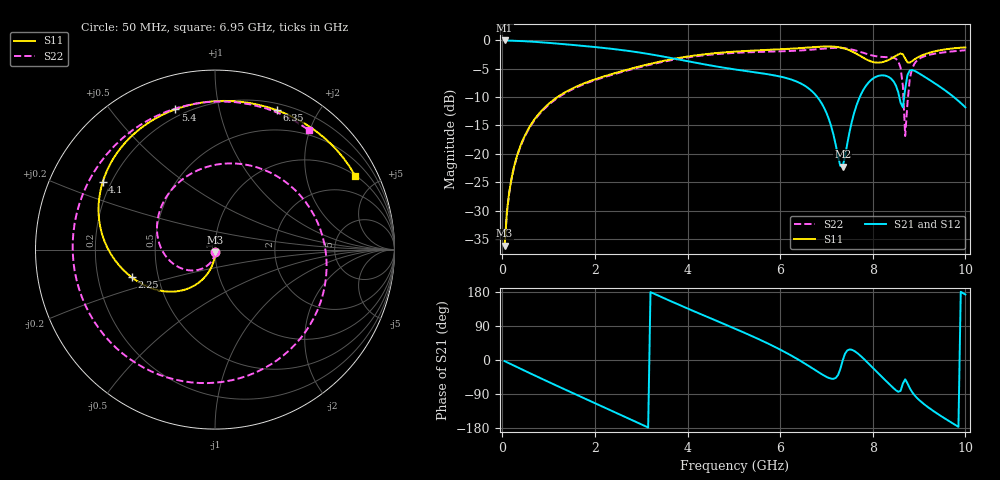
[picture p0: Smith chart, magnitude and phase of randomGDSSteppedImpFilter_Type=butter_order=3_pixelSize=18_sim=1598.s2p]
! freq	dB(S11)	phase(S11)	dB(S12)	phase(S12)
!  dB(S21)	phase(S21)	dB(S22)	phase(S22)
!S-par simulation data
#  GHz  S  DB  R 50
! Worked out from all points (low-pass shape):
!   200 points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, 50 MHz to 10 GHz, reference 50 ohm
!   highest |S21| = -0.02 dB at 50 MHz (marker M1); lowest = -22.2 dB at 7.35 GHz (marker M2)
!   |S21| within 3 dB of the highest: start of sweep to 3.582 GHz
!   lowest |S11| = -36.2 dB at 50 MHz (marker M3), VSWR 1.03, Z = 50.1 - j1.54 ohm
!   |S11| at or under -10 dB: start of sweep to 1.191 GHz
!   |S22| runs from -36.3 to -1.3 dB; largest |S21 - S12| = 0
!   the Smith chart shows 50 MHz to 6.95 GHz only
!   S11 on the Smith chart (normalised r, x): 50 MHz: 1.00, -0.03; 2.25 GHz: 0.35, -0.14; 4.1 GHz: 0.17, +0.27; 5.4 GHz: 0.16, +0.74; 6.35 GHz: 0.27, +1.50; 6.95 GHz: 1.02, +3.80
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0.05  -36.23 -87.2  -0.02 -3.0  -0.02 -3.0  -36.29 -89.2
0.2  -24.31 -95.7  -0.06 -11.8  -0.06 -11.8  -24.43 -104.0
0.5  -16.59 -108.2  -0.16 -29.3  -0.16 -29.3  -16.74 -129.3
1.75  -7.63 -148.9  -0.98 -99.9  -0.98 -99.9  -7.78 127.9
2.25  -6.22 -161.6  -1.39 -127.8  -1.39 -127.8  -6.37 84.7
3.4  -3.76 169.4  -2.74 168.2  -2.74 168.2  -3.91 -14.2
4.1  -2.73 149.0  -3.83 130.7  -3.83 130.7  -2.90 -68.1
5.05  -1.97 118.2  -5.16 81.4  -5.16 81.4  -2.19 -135.1
5.4  -1.81 105.8  -5.57 62.6  -5.57 62.6  -2.08 -160.1
5.9  -1.62 86.6  -6.21 33.7  -6.21 33.7  -1.96 160.8
6.35  -1.42 66.2  -7.24 4.1  -7.24 4.1  -1.83 119.6
6.7  -1.21 46.2  -9.07 -22.2  -9.07 -22.2  -1.62 81.9
6.95  -1.08 27.7  -11.91 -41.3  -11.91 -41.3  -1.44 51.7
7.35  -1.35 -14.0  -22.24 -1.3  -22.24 -1.3  -1.37 -0.2
7.8  -3.08 -86.4  -8.68 3.8  -8.68 3.8  -2.22 -54.9
8.35  -3.42 167.5  -6.48 -62.9  -6.48 -62.9  -2.97 -108.4
8.6  -2.31 125.3  -10.99 -81.5  -10.99 -81.5  -4.80 -152.1
8.7  -3.20 107.4  -8.54 -51.1  -8.54 -51.1  -16.87 -149.6
8.8  -3.93 104.5  -5.32 -74.5  -5.32 -74.5  -6.71 -95.7
9  -2.88 91.2  -5.82 -105.5  -5.82 -105.5  -3.27 -128.8
9.5  -1.67 53.2  -8.46 -150.0  -8.46 -150.0  -2.15 -178.9
10  -1.25 20.4  -11.81 172.7  -11.81 172.7  -1.74 134.6
